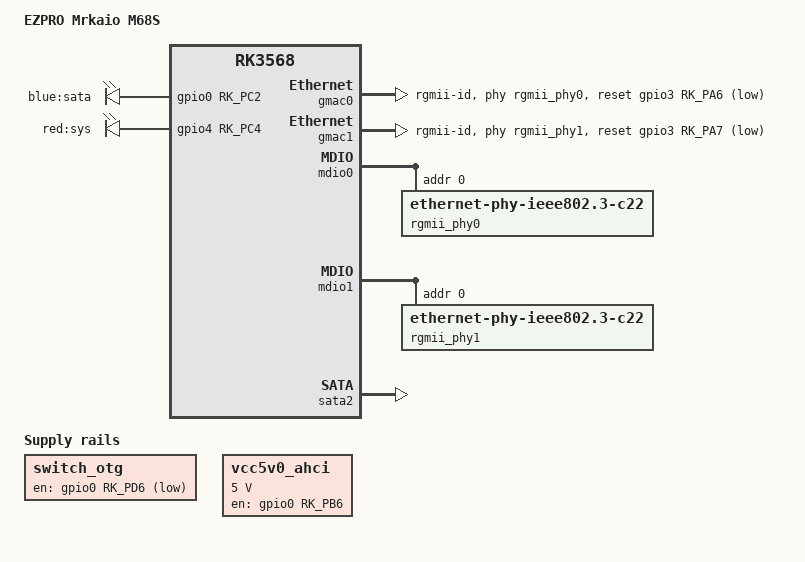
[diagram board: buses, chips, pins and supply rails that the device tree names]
// SPDX-License-Identifier: (GPL-2.0+ OR MIT)
// Copyright (c) 2022 AmadeusGhost <amadeus@jmu.edu.cn>

/dts-v1/;

#include "rk3568-mrkaio-m68s.dtsi"

/ {
	model = "EZPRO Mrkaio M68S";
	compatible = "ezpro,mrkaio-m68s", "rockchip,rk3568";

	aliases {
		ethernet0 = &gmac0;
		ethernet1 = &gmac1;

		led-boot = &led_sys;
		led-failsafe = &led_sys;
		led-running = &led_sys;
		led-upgrade = &led_sys;
	};

	leds {
		compatible = "gpio-leds";
		pinctrl-names = "default";
		pinctrl-0 = <&led_sata_en>, <&led_sys_en>;

		sata {
			label = "blue:sata";
			gpios = <&gpio0 RK_PC2 GPIO_ACTIVE_HIGH>;
		};

		led_sys: sys {
			label = "red:sys";
			gpios = <&gpio4 RK_PC4 GPIO_ACTIVE_HIGH>;
		};
	};

	switch_otg: switch-otg {
		compatible = "regulator-fixed";
		gpio = <&gpio0 RK_PD6 GPIO_ACTIVE_LOW>;
		pinctrl-names = "default";
		pinctrl-0 = <&usb_otg_switch_en>;
		regulator-name = "switch_otg";
		regulator-always-on;
	};

	vcc5v0_ahci: vcc5v0-ahci {
		compatible = "regulator-fixed";
		enable-active-high;
		gpio = <&gpio0 RK_PB6 GPIO_ACTIVE_HIGH>;
		pinctrl-names = "default";
		pinctrl-0 = <&sata_pwr_en>;
		regulator-always-on;
		regulator-boot-on;
		regulator-min-microvolt = <5000000>;
		regulator-max-microvolt = <5000000>;
		regulator-name = "vcc5v0_ahci";
	};
};

&gmac0 {
	assigned-clocks = <&cru SCLK_GMAC0_RX_TX>, <&cru SCLK_GMAC0>;
	assigned-clock-parents = <&cru SCLK_GMAC0_RGMII_SPEED>;
	assigned-clock-rates = <0>, <125000000>;
	clock_in_out = "output";
	phy-mode = "rgmii-id";
	pinctrl-names = "default";
	pinctrl-0 = <&gmac0_miim
		     &gmac0_tx_bus2
		     &gmac0_rx_bus2
		     &gmac0_rgmii_clk
		     &gmac0_rgmii_bus>;
	snps,reset-gpio = <&gpio3 RK_PA6 GPIO_ACTIVE_LOW>;
	snps,reset-active-low;
	/* Reset time is 20ms, 100ms for rtl8211f */
	snps,reset-delays-us = <0 20000 100000>;
	tx_delay = <0x3c>;
	rx_delay = <0x2f>;
	phy-handle = <&rgmii_phy0>;
	status = "okay";
};

&gmac1 {
	assigned-clocks = <&cru SCLK_GMAC1_RX_TX>, <&cru SCLK_GMAC1>;
	assigned-clock-parents = <&cru SCLK_GMAC1_RGMII_SPEED>;
	assigned-clock-rates = <0>, <125000000>;
	clock_in_out = "output";
	phy-mode = "rgmii-id";
	pinctrl-names = "default";
	pinctrl-0 = <&gmac1m1_miim
		     &gmac1m1_tx_bus2
		     &gmac1m1_rx_bus2
		     &gmac1m1_rgmii_clk
		     &gmac1m1_rgmii_bus>;
	snps,reset-gpio = <&gpio3 RK_PA7 GPIO_ACTIVE_LOW>;
	snps,reset-active-low;
	/* Reset time is 20ms, 100ms for rtl8211f */
	snps,reset-delays-us = <0 20000 100000>;
	tx_delay = <0x42>;
	rx_delay = <0x28>;
	phy-handle = <&rgmii_phy1>;
	status = "okay";
};

&mdio0 {
	rgmii_phy0: ethernet-phy@0 {
		compatible = "ethernet-phy-ieee802.3-c22";
		reg = <0x0>;
	};
};

&mdio1 {
	rgmii_phy1: ethernet-phy@0 {
		compatible = "ethernet-phy-ieee802.3-c22";
		reg = <0x0>;
	};
};

&pinctrl {
	leds {
		led_sata_en: led_sata_en {
			rockchip,pins = <0 RK_PC2 RK_FUNC_GPIO &pcfg_pull_none>;
		};

		led_sys_en: led_sys_en {
			rockchip,pins = <4 RK_PC4 RK_FUNC_GPIO &pcfg_pull_none>;
		};
	};

	sata {
		sata_pwr_en: sata-pwr-en {
			rockchip,pins = <0 RK_PB6 RK_FUNC_GPIO &pcfg_pull_none>;
		};
	};

	usb {
		vcc5v0_usb_host_en: vcc5v0_usb_host_en {
			rockchip,pins = <0 RK_PA5 RK_FUNC_GPIO &pcfg_pull_none>;
		};

		vcc5v0_usb_otg_en: vcc5v0_usb_otg_en {
			rockchip,pins = <0 RK_PA6 RK_FUNC_GPIO &pcfg_pull_none>;
		};

		usb_otg_switch_en: usb-otg-switch_en {
			rockchip,pins = <0 RK_PD6 RK_FUNC_GPIO &pcfg_pull_none>;
		};
	};
};

&sata2 {
	target-supply = <&vcc5v0_ahci>;
	status = "okay";
};
